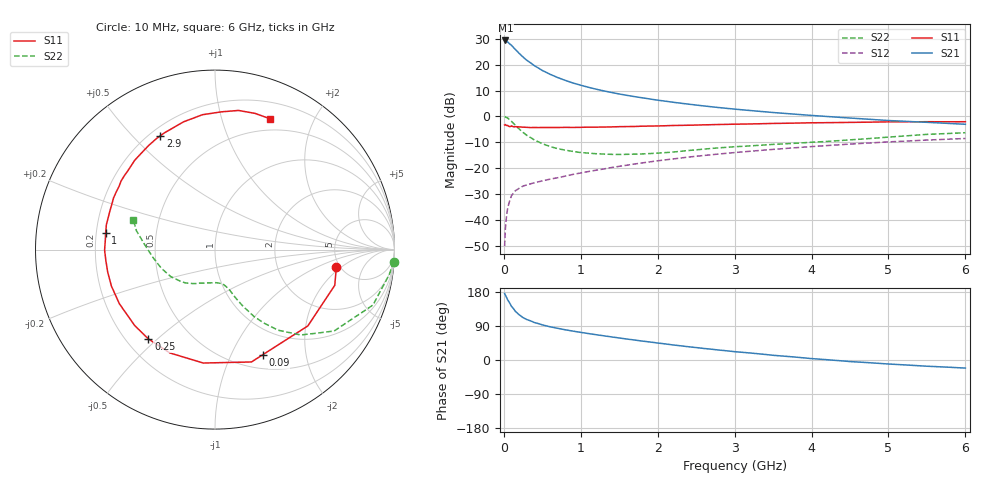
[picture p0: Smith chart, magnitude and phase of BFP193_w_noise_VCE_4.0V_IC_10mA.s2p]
! Infineon Technologies  Discrete & RF Semiconductors
! BFP193
! VCE =  4.0 V,  IC =  10 mA
! Common Emitter S-Parameters:  Jan 2017
# GHz  S  MA  R  50
!  f  S11  S21  S12  S22
! GHz  MAG  ANG  MAG  ANG  MAG  ANG  MAG  ANG
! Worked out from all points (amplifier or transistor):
!   77 points, 10 MHz to 6 GHz, reference 50 ohm
!   highest |S21| = 29.4 dB at 20 MHz (marker M1)
!   |S21| within 3 dB of that: start of sweep to 134.3 MHz
!   unconditionally stable (mu >= 1): 1.131 GHz to 2.603 GHz
!   at 130 MHz: K = 0.23, MSG = 28.0 dB, |S12| = -29.5 dB
!   at 2.2 GHz: K = 1.03, MAG = 9.9 dB, |S12| = -16.4 dB
!   at 6 GHz: K = 0.88, MSG = 2.7 dB, |S12| = -8.5 dB
!   lowest NFmin = 0.87 dB at 450 MHz
!   S11 on the Smith chart (normalised r, x): 10 MHz: 4.65, -1.72; 90 MHz: 0.66, -1.33; 250 MHz: 0.29, -0.47; 1 GHz: 0.24, +0.07; 2.9 GHz: 0.24, +0.60; 6 GHz: 0.37, +1.43
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0.01  0.6833 -8.3  29.22 175.6  0.0031 86.1  0.9979 -3.9
0.02  0.6963 -16.6  29.5 171.2  0.0067 90.2  0.9811 -8.1
0.05  0.6696 -39.4  27.57 158.6  0.0169 72.6  0.933 -19.3
0.09  0.6434 -65.6  24.33 145.2  0.0269 62.4  0.8244 -31.0
0.1  0.6582 -72.0  23.76 141.4  0.0295 61.0  0.8035 -34.4
0.15  0.6353 -95.9  19.75 128.4  0.0366 51.2  0.6738 -44.9
0.2  0.6283 -113.6  16.56 119.2  0.0409 46.9  0.5709 -51.9
0.25  0.6208 -126.7  14.08 111.9  0.0451 43.5  0.4911 -56.4
0.3  0.6158 -136.6  12.16 106.7  0.0475 42.8  0.4302 -59.8
0.4  0.6123 -150.5  9.518 98.6  0.0524 42.6  0.3483 -63.9
0.5  0.6119 -160.6  7.754 92.7  0.0567 43.0  0.2973 -66.6
0.6  0.6108 -168.3  6.554 87.7  0.0613 43.9  0.2624 -68.6
0.7  0.6112 -174.3  5.653 83.6  0.0653 45.9  0.2382 -70.2
1  0.6165 171.2  4.016 72.9  0.0807 49.2  0.2004 -76.3
1.1  0.6209 167.1  3.664 69.8  0.0861 50.3  0.1953 -78.6
1.5  0.6343 153.0  2.721 58.1  0.1085 51.0  0.1838 -90.5
2.1  0.6612 134.8  1.974 42.4  0.1448 49.4  0.2 -111.0
2.9  0.7036 115.6  1.434 24.2  0.1941 43.9  0.2532 -134.1
3.1  0.712 111.5  1.344 20.3  0.2062 42.2  0.2642 -139.2
4.1  0.7563 93.7  1.023 2.3  0.2673 32.8  0.3227 -163.8
5.1  0.7864 79.0  0.821 -11.7  0.3273 21.9  0.4082 173.0
6  0.7907 67.4  0.706 -21.3  0.3749 11.7  0.4848 159.9
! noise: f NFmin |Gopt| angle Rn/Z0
0.45  0.87  0.21  156  0.07
0.9  1  0.35  173  0.06
1.9  1.75  0.57  -146  0.13
2.4  2.13  0.63  -128  0.31
